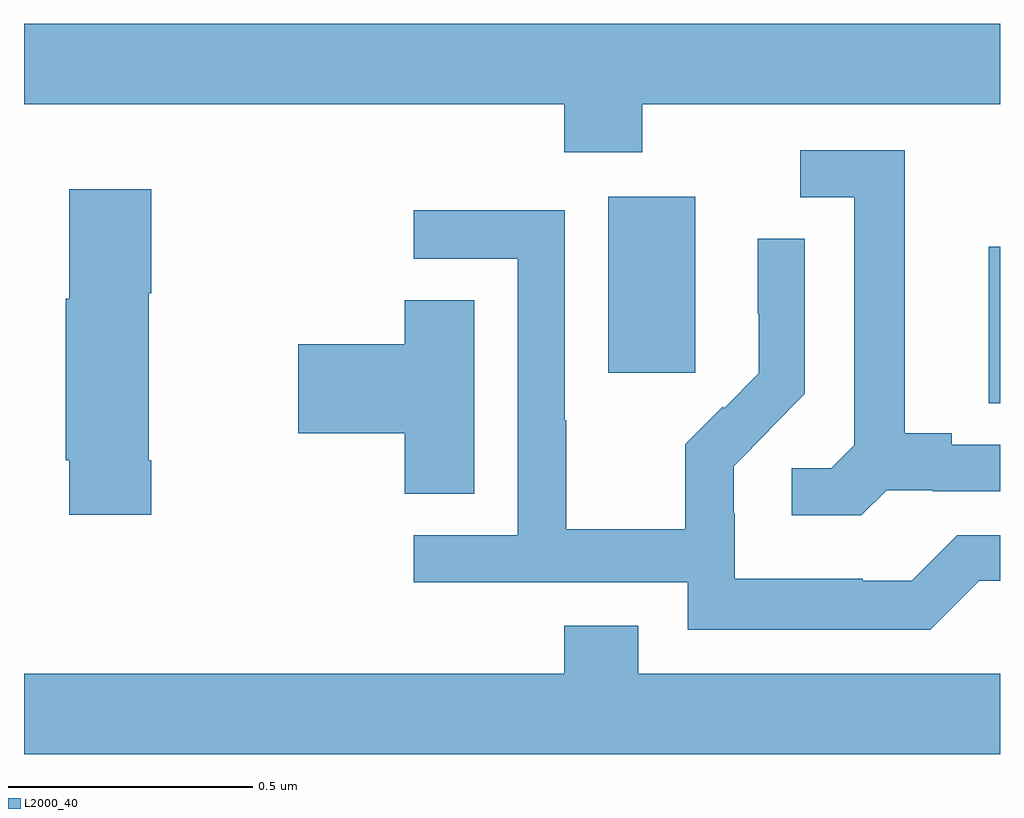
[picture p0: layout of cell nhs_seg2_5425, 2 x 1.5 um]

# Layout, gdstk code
import gdstk
lib = gdstk.Library(unit=1e-6, precision=1e-09)
def R(c, l, rs):  # rectangles x0, y0, x1, y1
    for r in rs: c.add(gdstk.rectangle(r[:2], r[2:], *l))
def P(c, l, *ps):  # polygons
    for p in ps: c.add(gdstk.Polygon(p, *l))
L2000_40 = (2000, 40)

nhs_seg2_5425 = lib.new_cell('nhs_seg2_5425')
R(nhs_seg2_5425, L2000_40, [(180.977,597.739,181,598.059), (180.197,597.801,180.376,598.162)])
P(nhs_seg2_5425, L2000_40, [(180.267,598.352),(181,598.352),(181,598.516),(179,598.516),(179,598.352),(180.107,598.352),(180.107,598.253),(180.267,598.253)],
  [(180.768,597.561),(180.862,597.561),(180.862,597.558),(181,597.558),(181,597.654),(180.901,597.654),(180.901,597.677),(180.805,597.677),(180.805,598.257),(180.591,598.257),(180.591,598.161),(180.701,598.161),(180.701,597.653),(180.654,597.606),(180.573,597.606),(180.573,597.509),(180.716,597.509)],
  [(179.261,597.622),(179.256,597.622),(179.256,597.964),(179.261,597.964),(179.261,598.177),(179.093,598.177),(179.093,597.953),(179.086,597.953),(179.086,597.622),(179.093,597.622),(179.093,597.51),(179.261,597.51)],
  [(180.957,597.375),(181,597.375),(181,597.468),(180.912,597.468),(180.819,597.375),(180.719,597.375),(180.719,597.379),(180.456,597.379),(180.456,597.513),(180.454,597.513),(180.454,597.61),(180.528,597.684),(180.527,597.685),(180.6,597.758),(180.6,598.076),(180.504,598.076),(180.504,597.922),(180.506,597.922),(180.506,597.8),(180.435,597.729),(180.432,597.732),(180.355,597.655),(180.355,597.481),(180.111,597.481),(180.111,597.704),(180.108,597.704),(180.108,598.134),(179.799,598.134),(179.799,598.035),(180.012,598.035),(180.012,597.468),(179.799,597.468),(179.799,597.372),(180.36,597.372),(180.36,597.275),(180.857,597.275)],
  [(179.923,597.95),(179.78,597.95),(179.78,597.86),(179.562,597.86),(179.562,597.677),(179.78,597.677),(179.78,597.553),(179.923,597.553)],
  [(181,597.184),(180.259,597.184),(180.259,597.283),(180.107,597.283),(180.107,597.184),(179,597.184),(179,597.02),(181,597.02)])

lib.write_gds('nhs_seg2_5425.gds')
